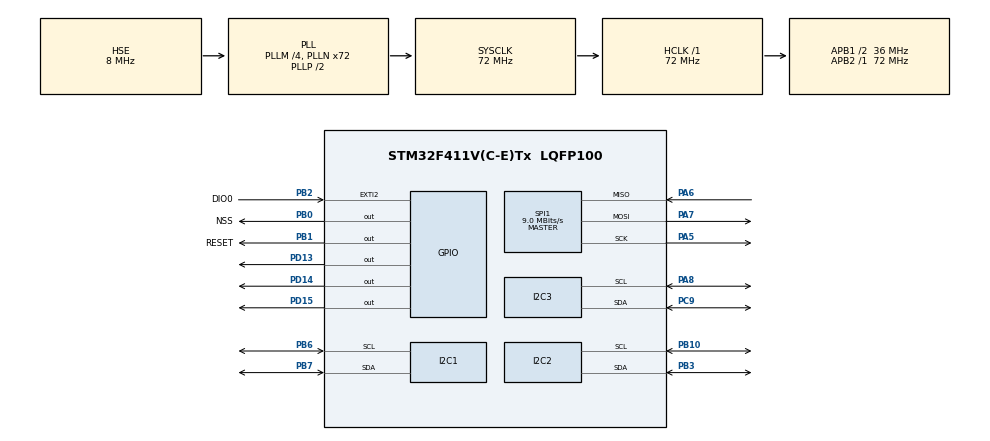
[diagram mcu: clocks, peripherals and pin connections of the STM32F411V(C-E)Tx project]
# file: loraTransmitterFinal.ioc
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Mcu.Family=STM32F4
Mcu.Name=STM32F411V(C-E)Tx
Mcu.Package=LQFP100
NVIC.EXTI2_IRQn=true\:0\:0\:false\:false\:true\:true\:true\:true
NVIC.PriorityGroup=NVIC_PRIORITYGROUP_0
NVIC.SPI1_IRQn=true\:0\:0\:false\:false\:true\:true\:true\:true
PA5.Mode=Full_Duplex_Master
PA5.Signal=SPI1_SCK
PA6.Mode=Full_Duplex_Master
PA6.Signal=SPI1_MISO
PA7.Mode=Full_Duplex_Master
PA7.Signal=SPI1_MOSI
PA8.Mode=I2C
PA8.Signal=I2C3_SCL
PB0.GPIO_Label=NSS
PB0.Signal=GPIO_Output
PB1.GPIO_Label=RESET
PB1.Signal=GPIO_Output
PB10.Mode=I2C
PB10.Signal=I2C2_SCL
PB2.GPIO_Label=DIO0
PB2.Signal=GPXTI2
PB3.Mode=I2C
PB3.Signal=I2C2_SDA
PB6.Mode=I2C
PB6.Signal=I2C1_SCL
PB7.Mode=I2C
PB7.Signal=I2C1_SDA
PC9.Mode=I2C
PC9.Signal=I2C3_SDA
PD13.Signal=GPIO_Output
PD14.Signal=GPIO_Output
PD15.Signal=GPIO_Output
PH0\ -\ OSC_IN.Mode=HSE-External-Oscillator
PH0\ -\ OSC_IN.Signal=RCC_OSC_IN
PH1\ -\ OSC_OUT.Mode=HSE-External-Oscillator
PH1\ -\ OSC_OUT.Signal=RCC_OSC_OUT
ProjectManager.HeapSize=0x200
ProjectManager.StackSize=0x400
ProjectManager.TargetToolchain=STM32CubeIDE
RCC.48MHZClocksFreq_Value=18000000
RCC.AHBFreq_Value=72000000
RCC.APB1CLKDivider=RCC_HCLK_DIV2
RCC.APB1Freq_Value=36000000
RCC.APB1TimFreq_Value=72000000
RCC.APB2Freq_Value=72000000
RCC.APB2TimFreq_Value=72000000
RCC.CortexFreq_Value=72000000
RCC.HCLKFreq_Value=72000000
RCC.HSE_VALUE=8000000
RCC.HSI_VALUE=16000000
RCC.LSE_VALUE=32768
RCC.PLLI2SM=5
RCC.PLLI2SN=200
RCC.PLLM=4
RCC.PLLN=72
RCC.PLLQ=8
RCC.PLLSourceVirtual=RCC_PLLSOURCE_HSE
RCC.SYSCLKFreq_VALUE=72000000
RCC.SYSCLKSource=RCC_SYSCLKSOURCE_PLLCLK
RCC.VCOOutputFreq_Value=144000000
SPI1.BaudRatePrescaler=SPI_BAUDRATEPRESCALER_8
SPI1.CalculateBaudRate=9.0 MBits/s
SPI1.Direction=SPI_DIRECTION_2LINES
SPI1.Mode=SPI_MODE_MASTER
SPI1.VirtualType=VM_MASTER
board=STM32F411E-DISCO

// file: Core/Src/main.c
/* USER CODE BEGIN Header */
/**
  ******************************************************************************
  * @file           : main.c
  * @brief          : Main program body
  ******************************************************************************
  * @attention
  *
  * Copyright (c) 2023 STMicroelectronics.
  * All rights reserved.
  *
  * This software is licensed under terms that can be found in the LICENSE file
  * in the root directory of this software component.
  * If no LICENSE file comes with this software, it is provided AS-IS.
  *
  ******************************************************************************
  */
/* USER CODE END Header */
#include "main.h"
#include "i2c.h"
#include "spi.h"
#include "gpio.h"

/* USER CODE BEGIN Includes */
#include "BMP280_STM32.h"
#include "LoRa.h"
#include "stdio.h"
/* USER CODE END Includes */

/* USER CODE BEGIN PV */
int LoRa_status = 0;
LoRa myLora;
uint8_t temp = 1;
uint8_t pres = 1;
uint8_t data[2];
/* USER CODE END PV */

void SystemClock_Config(void);

/* USER CODE BEGIN 0 */
float Temperature, Pressure, Humidity;

/* USER CODE END 0 */

int main(void)
{

  /* MCU Configuration--------------------------------------------------------*/

  /* Reset of all peripherals, Initializes the Flash interface and the Systick. */
  HAL_Init();

  /* Configure the system clock */
  SystemClock_Config();

  /* Initialize all configured peripherals */
  MX_GPIO_Init();
  MX_SPI1_Init();
  MX_I2C3_Init();
  MX_I2C1_Init();
  MX_I2C2_Init();
  /* USER CODE BEGIN 2 */
  myLora = newLoRa();
  myLora.CS_port         = NSS_GPIO_Port;
  myLora.CS_pin          = NSS_Pin;
  myLora.reset_port      = RESET_GPIO_Port;
  myLora.reset_pin       = RESET_Pin;
  myLora.DIO0_port       = DIO0_GPIO_Port;
  myLora.DIO0_pin        = DIO0_Pin;
  myLora.hSPIx           = &hspi1;

    if (LoRa_init(&myLora) == LORA_OK) {
    	LoRa_status = 1;
    } else {
    	HAL_GPIO_TogglePin(GPIOD, GPIO_PIN_13);
    }
    //  MCP9808_HandleTypeDef mcp9808 = mcp9808_init();
//  lcd_init();
  int ret = BMP280_Config(OSRS_16, OSRS_16, OSRS_OFF, MODE_NORMAL, T_SB_1000, IIR_16);
//  char msgstr[64];

  /* USER CODE END 2 */

  /* Infinite loop */
  /* USER CODE BEGIN WHILE */
  while (1)
  {
	  if (LoRa_status) {
	  	HAL_Delay(1000);

		BMP280_Measure();
		temp = (uint8_t) (Temperature + 73);
		pres = (uint8_t) (Pressure/1000);
		data[0] = temp;
		data[1] = pres;
		LoRa_transmit(&myLora, data, 2, 100);
	  	HAL_GPIO_TogglePin(GPIOD, GPIO_PIN_14);
	  }
//	float temp = mcp9808_read_temp(&mcp9808);
//	BMP280_Measure();
//	HAL_Delay(500);
//	char info[255] = "";
//
//    sprintf(msgstr, "%f Pa", (float) Pressure);
//    sprintf(data, "%f C", (float) Temperature);
//    lcd_put_cur(0, 0);
//    lcd_send_string(msgstr);
//    lcd_put_cur(1, 0);
//    lcd_send_string(data);
//    HAL_Delay(1000);
//    lcd_clear();
//    mcp9808.value = 0;
//    mcp9808.value_dec = 0.0625;

    /* USER CODE END WHILE */

  }
}

void SystemClock_Config(void)
{
  RCC_OscInitTypeDef RCC_OscInitStruct = {0};
  RCC_ClkInitTypeDef RCC_ClkInitStruct = {0};

  /** Configure the main internal regulator output voltage
  */
  __HAL_RCC_PWR_CLK_ENABLE();
  __HAL_PWR_VOLTAGESCALING_CONFIG(PWR_REGULATOR_VOLTAGE_SCALE1);

  /** Initializes the RCC Oscillators according to the specified parameters
  * in the RCC_OscInitTypeDef structure.
  */
  RCC_OscInitStruct.OscillatorType = RCC_OSCILLATORTYPE_HSE;
  RCC_OscInitStruct.HSEState = RCC_HSE_ON;
  RCC_OscInitStruct.PLL.PLLState = RCC_PLL_ON;
  RCC_OscInitStruct.PLL.PLLSource = RCC_PLLSOURCE_HSE;
  RCC_OscInitStruct.PLL.PLLM = 4;
  RCC_OscInitStruct.PLL.PLLN = 72;
  RCC_OscInitStruct.PLL.PLLP = RCC_PLLP_DIV2;
  RCC_OscInitStruct.PLL.PLLQ = 8;
  if (HAL_RCC_OscConfig(&RCC_OscInitStruct) != HAL_OK)
  {
    Error_Handler();
  }

  /** Initializes the CPU, AHB and APB buses clocks
  */
  RCC_ClkInitStruct.ClockType = RCC_CLOCKTYPE_HCLK|RCC_CLOCKTYPE_SYSCLK
                              |RCC_CLOCKTYPE_PCLK1|RCC_CLOCKTYPE_PCLK2;
  RCC_ClkInitStruct.SYSCLKSource = RCC_SYSCLKSOURCE_PLLCLK;
  RCC_ClkInitStruct.AHBCLKDivider = RCC_SYSCLK_DIV1;
  RCC_ClkInitStruct.APB1CLKDivider = RCC_HCLK_DIV2;
  RCC_ClkInitStruct.APB2CLKDivider = RCC_HCLK_DIV1;

  if (HAL_RCC_ClockConfig(&RCC_ClkInitStruct, FLASH_LATENCY_2) != HAL_OK)
  {
    Error_Handler();
  }
}

void Error_Handler(void)
{
  __disable_irq();
  while (1)
  {
  }
}
